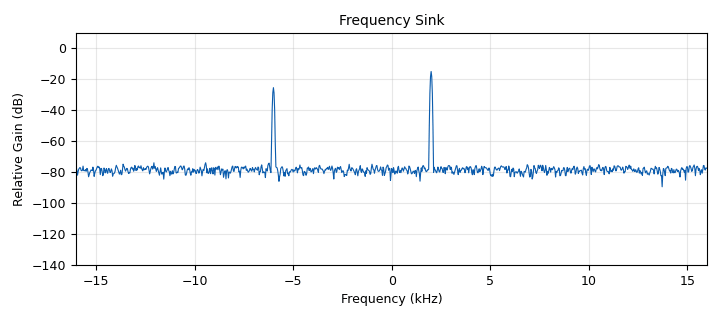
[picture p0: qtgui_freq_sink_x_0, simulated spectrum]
options:
  parameters:
    generate_options: qt_gui
    id: fg_ch18_001
    output_language: python
    title: FG-CH18-001
  states: {}

blocks:
- name: samp_rate
  id: variable
  parameters:
    value: '32000'
  states: {}
- name: analog_noise_source_x_0
  id: analog_noise_source_x
  parameters:
    amp: '0.01'
    noise_type: analog.GR_GAUSSIAN
    seed: '0'
    type: complex
  states: {}
- name: analog_sig_source_x_0
  id: analog_sig_source_x
  parameters:
    amp: '0.5'
    freq: '2000'
    offset: '0'
    phase: '0'
    samp_rate: samp_rate
    type: complex
    waveform: analog.GR_COS_WAVE
  states: {}
- name: analog_sig_source_x_1
  id: analog_sig_source_x
  parameters:
    amp: '0.15'
    freq: '-6000'
    offset: '0'
    phase: '0'
    samp_rate: samp_rate
    type: complex
    waveform: analog.GR_COS_WAVE
  states: {}
- name: blocks_add_xx_0
  id: blocks_add_xx
  parameters:
    num_inputs: '3'
    type: complex
  states: {}
- name: blocks_throttle2_0
  id: blocks_throttle2
  parameters:
    samples_per_second: samp_rate
    type: complex
  states: {}
- name: qtgui_freq_sink_x_0
  id: qtgui_freq_sink_x
  parameters:
    average: '0.2'
    bw: samp_rate
    fc: '0'
    fftsize: '1024'
    grid: 'True'
    legend: 'False'
    name: '"Frequency Sink"'
    type: complex
  states: {}

connections:
- [analog_noise_source_x_0, '0', blocks_add_xx_0, '2']
- [analog_sig_source_x_0, '0', blocks_add_xx_0, '0']
- [analog_sig_source_x_1, '0', blocks_add_xx_0, '1']
- [blocks_add_xx_0, '0', blocks_throttle2_0, '0']
- [blocks_throttle2_0, '0', qtgui_freq_sink_x_0, '0']

metadata:
  file_format: 1
  grc_version: 3.10.12.0
